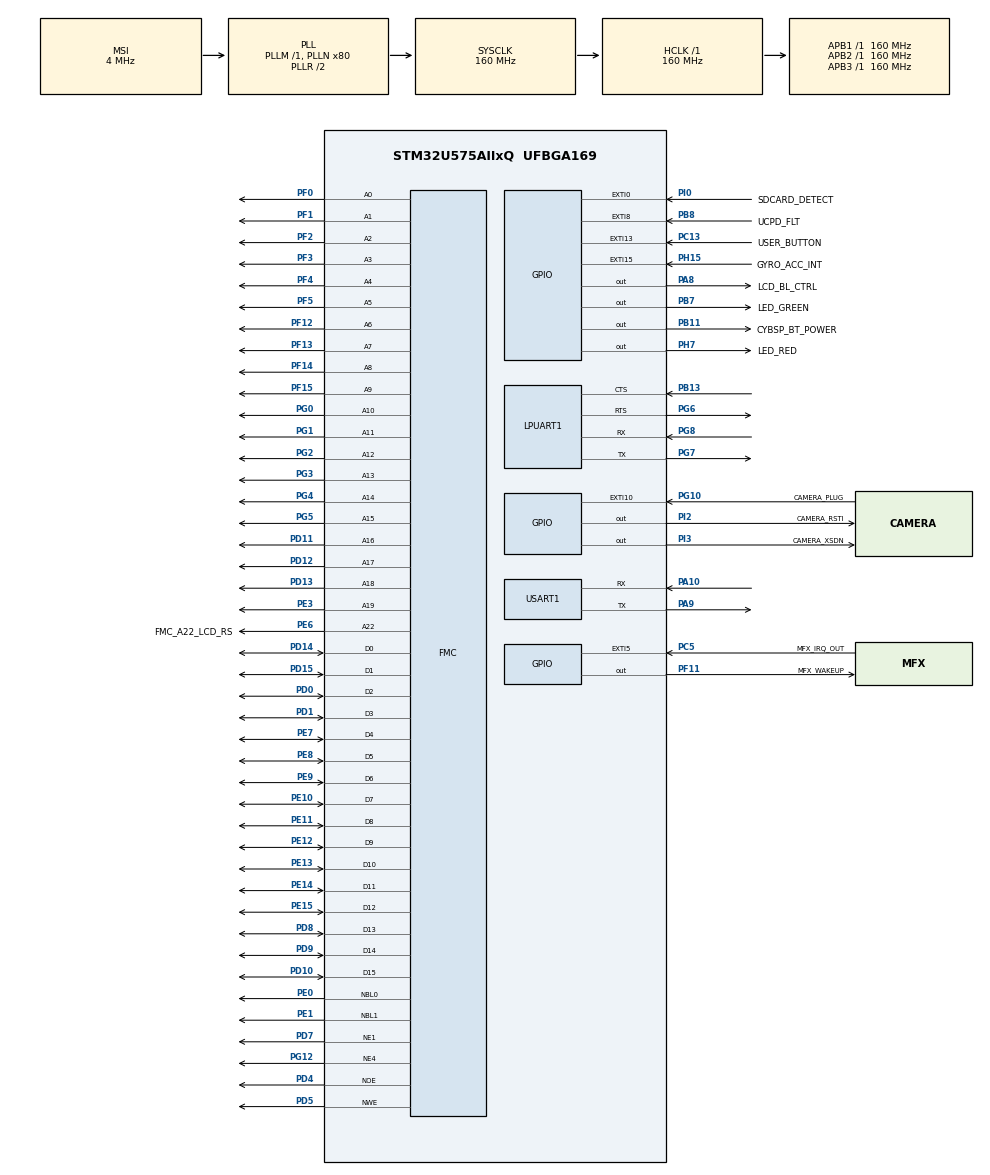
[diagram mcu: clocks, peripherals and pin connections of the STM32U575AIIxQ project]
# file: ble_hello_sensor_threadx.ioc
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CORTEX_M33_NS.userName=CORTEX_M33
GPDMA1.DESTINC_GPDMACH14=DMA_DINC_INCREMENTED
GPDMA1.DIRECTION_GPDMACH15=DMA_MEMORY_TO_PERIPH
GPDMA1.IPHANDLE_GPDMACH14-SIMPLEREQUEST_GPDMACH14=__NULL
GPDMA1.IPHANDLE_GPDMACH15-SIMPLEREQUEST_GPDMACH15=__NULL
GPDMA1.REQUEST_GPDMACH14=GPDMA1_REQUEST_LPUART1_RX
GPDMA1.REQUEST_GPDMACH15=GPDMA1_REQUEST_LPUART1_TX
GPDMA1.SRCINC_GPDMACH15=DMA_SINC_INCREMENTED
Infineon.AIROC-Wi-Fi-Bluetooth-STM32.1.8.0.CYBSP_BT_POWER=PB11
Infineon.AIROC-Wi-Fi-Bluetooth-STM32.1.8.0.CYBSP_BT_UART_CTS=PB13
Infineon.AIROC-Wi-Fi-Bluetooth-STM32.1.8.0.CYBSP_BT_UART_RTS=PG6
Infineon.AIROC-Wi-Fi-Bluetooth-STM32.1.8.0.CYBSP_BT_UART_RX=PG8
Infineon.AIROC-Wi-Fi-Bluetooth-STM32.1.8.0.CYBSP_BT_UART_TX=PG7
Infineon.AIROC-Wi-Fi-Bluetooth-STM32.1.8.0.CYHAL_ISR_PRIORITY_DEFAULT=5
Infineon.AIROC-Wi-Fi-Bluetooth-STM32.1.8.0.ConnectivityCcWirelessJjBluetoothJjbtstack=BLEIiHARDFP
Infineon.AIROC-Wi-Fi-Bluetooth-STM32.1.8.0.ConnectivityCcWirelessJjBluetoothJjbtstackAaintegration=true
Infineon.AIROC-Wi-Fi-Bluetooth-STM32.1.8.0.ConnectivityCcWirelessJjPlatformJjabstractionAartos=ThreadX
Infineon.AIROC-Wi-Fi-Bluetooth-STM32.1.8.0.ConnectivityCcWirelessJjPlatformJjdevice=CYW43012
Infineon.AIROC-Wi-Fi-Bluetooth-STM32.1.8.0.ConnectivityCcWirelessJjPlatformJjmodule=MURATAAa1LV
Infineon.AIROC-Wi-Fi-Bluetooth-STM32.1.8.0.ConnectivityCcWirelessJjPlatformJjpal=true
Mcu.Family=STM32U5
Mcu.Name=STM32U575AIIxQ
Mcu.Package=UFBGA169
NVIC.EXTI15_IRQn=true\:0\:0\:false\:false\:true\:false\:true\:true\:true
NVIC.GPDMA1_Channel14_IRQn=true\:0\:0\:false\:false\:true\:true\:false\:true\:true
NVIC.GPDMA1_Channel15_IRQn=true\:0\:0\:false\:false\:true\:true\:false\:true\:true
NVIC.LPTIM1_IRQn=true\:0\:0\:false\:false\:true\:false\:true\:true\:true
NVIC.LPUART1_IRQn=true\:0\:0\:false\:false\:true\:false\:true\:true\:true
NVIC.PriorityGroup=NVIC_PRIORITYGROUP_3
NVIC.TIM1_UP_IRQn=true\:7\:0\:false\:false\:true\:false\:false\:true\:true
NVIC.TimeBase=TIM1_UP_IRQn
NVIC.TimeBaseIP=TIM1
PA0.GPIO_Label=IBUS_SENSE
PA0.Signal=ADC1_IN5
PA1.PinAttribute=Free
PA1.Signal=TAMP_IN5
PA10.Mode=Asynchronous
PA10.Signal=USART1_RX
PA11.Signal=USB_OTG_FS_DM
PA12.Signal=USB_OTG_FS_DP
PA13\ (JTMS/SWDIO).Mode=Serial_Wire
PA13\ (JTMS/SWDIO).Signal=DEBUG_JTMS-SWDIO
PA14\ (JTCK/SWCLK).Mode=Serial_Wire
PA14\ (JTCK/SWCLK).Signal=DEBUG_JTCK-SWCLK
PA15\ (JTDI).PinAttribute=Free
PA15\ (JTDI).Signal=UCPD1_CC1
PA2.Signal=OCTOSPIM_P1_NCS
PA3.Signal=OCTOSPIM_P1_CLK
PA5.GPIO_Label=VBUS_SENSE
PA5.Signal=ADC1_IN10
PA6.Signal=OCTOSPIM_P1_IO3
PA7.Signal=OCTOSPIM_P1_IO2
PA8.GPIO_Label=LCD_BL_CTRL
PA8.Signal=GPIO_Output
PA9.Mode=Asynchronous
PA9.Signal=USART1_TX
PB0.PinAttribute=Free
PB0.Signal=OCTOSPIM_P1_IO1
PB1.Signal=OCTOSPIM_P1_IO0
PB10.GPIO_PuPdOD=GPIO_NOPULL
PB10.PinAttribute=Free
PB10.Signal=I2C2_SCL
PB11.GPIO_Label=CYBSP_BT_POWER
PB11.Signal=GPIO_Output
PB12.Signal=USART3_CK
PB13.Mode=CTS_RTS
PB13.Signal=LPUART1_CTS
PB14.Signal=TSC_G1_IO3
PB15.Signal=UCPD1_CC2
PB2.Signal=OCTOSPIM_P1_DQS
PB3\ (JTDO/TRACESWO).Signal=ADF1_CCK0
PB4\ (NJTRST).PinAttribute=Free
PB4\ (NJTRST).Signal=ADF1_SDI0
PB6.PinAttribute=Free
PB6.Signal=MDF1_SDI5
PB7.GPIO_Label=LED_GREEN
PB7.GPIO_Speed=GPIO_SPEED_FREQ_HIGH
PB7.Signal=GPIO_Output
PB8.GPIO_Label=UCPD_FLT
PB8.Signal=GPXTI8
PC0.PinAttribute=Free
PC0.Signal=OCTOSPIM_P1_IO7
PC1.Signal=OCTOSPIM_P1_IO4
PC10.Signal=SDMMC1_D2
PC11.PinAttribute=Free
PC11.Signal=SDMMC1_D3
PC12.Signal=SDMMC1_CK
PC13.GPIO_Label=USER_BUTTON
PC13.Signal=GPXTI13
PC14-OSC32_IN\ (PC14).Mode=LSE-External-Oscillator
PC14-OSC32_IN\ (PC14).Signal=RCC_OSC32_IN
PC15-OSC32_OUT\ (PC15).Mode=LSE-External-Oscillator
PC15-OSC32_OUT\ (PC15).Signal=RCC_OSC32_OUT
PC2.Signal=OCTOSPIM_P1_IO5
PC3.Signal=OCTOSPIM_P1_IO6
PC4.Signal=USART3_TX
PC5.GPIO_Label=MFX_IRQ_OUT
PC5.Signal=GPXTI5
PC6.PinAttribute=Free
PC6.Signal=TSC_G4_IO1
PC7.Signal=TSC_G4_IO2
PC8.Signal=SDMMC1_D0
PC9.Signal=SDMMC1_D1
PD0.Signal=FMC_D2_DA2
PD1.Signal=FMC_D3_DA3
PD10.PinAttribute=Free
PD10.Signal=FMC_D15_DA15
PD11.Signal=FMC_A16_CLE
PD12.PinAttribute=Free
PD12.Signal=FMC_A17_ALE
PD13.PinAttribute=Free
PD13.Signal=FMC_A18
PD14.Signal=FMC_D0_DA0
PD15.Signal=FMC_D1_DA1
PD2.Signal=SDMMC1_CMD
PD3.Signal=MDF1_SDI0
PD4.PinAttribute=Free
PD4.Signal=FMC_NOE
PD5.Signal=FMC_NWE
PD6.Signal=SAI1_SD_A
PD7.Mode=NorPsramChipSelect1_1
PD7.Signal=FMC_NE1
PD8.Signal=FMC_D13_DA13
PD9.Signal=FMC_D14_DA14
PE0.Signal=FMC_NBL0
PE1.Signal=FMC_NBL1
PE10.Signal=FMC_D7_DA7
PE11.Signal=FMC_D8_DA8
PE12.Signal=FMC_D9_DA9
PE13.Signal=FMC_D10_DA10
PE14.PinAttribute=Free
PE14.Signal=FMC_D11_DA11
PE15.Signal=FMC_D12_DA12
PE3.Signal=FMC_A19
PE4.Signal=MDF1_SDI3
PE6.GPIO_Label=FMC_A22_LCD_RS
PE6.Signal=FMC_A22
PE7.Signal=FMC_D4_DA4
PE8.PinAttribute=Free
PE8.Signal=FMC_D5_DA5
PE9.Signal=FMC_D6_DA6
PF0.Signal=FMC_A0
PF1.Signal=FMC_A1
PF10.Signal=MDF1_CCK1
PF11.GPIO_Label=MFX_WAKEUP
PF11.Signal=GPIO_Output
PF12.PinAttribute=Free
PF12.Signal=FMC_A6
PF13.Signal=FMC_A7
PF14.Signal=FMC_A8
PF15.Signal=FMC_A9
PF2.Signal=FMC_A2
PF3.PinAttribute=Free
PF3.Signal=FMC_A3
PF4.Signal=FMC_A4
PF5.PinAttribute=Free
PF5.Signal=FMC_A5
PF7.GPIO_Speed=GPIO_SPEED_FREQ_MEDIUM
PF7.PinAttribute=Free
PF7.Signal=SAI1_MCLK_B
PG0.Signal=FMC_A10
PG1.Signal=FMC_A11
PG10.GPIO_Label=CAMERA_PLUG
PG10.Signal=GPXTI10
PG12.Mode=NorPsramChipSelect4_2
PG12.Signal=FMC_NE4
PG2.PinAttribute=Free
PG2.Signal=FMC_A12
PG3.Signal=FMC_A13
PG4.PinAttribute=Free
PG4.Signal=FMC_A14
PG5.Signal=FMC_A15
PG6.Mode=CTS_RTS
PG6.Signal=LPUART1_RTS
PG7.Mode=Asynchronous
PG7.Signal=LPUART1_TX
PG8.Mode=Asynchronous
PG8.Signal=LPUART1_RX
PH0-OSC_IN\ (PH0).Mode=HSE-External-Oscillator
PH0-OSC_IN\ (PH0).Signal=RCC_OSC_IN
PH1-OSC_OUT\ (PH1).Mode=HSE-External-Oscillator
PH1-OSC_OUT\ (PH1).PinAttribute=Free
PH1-OSC_OUT\ (PH1).Signal=RCC_OSC_OUT
PH10.Signal=DCMI_D1
PH11.Signal=DCMI_D2
PH12.Signal=DCMI_D3
PH14.Signal=DCMI_D4
PH15.GPIO_Label=GYRO_ACC_INT
PH15.Signal=GPXTI15
PH5.Signal=DCMI_PIXCLK
PH7.GPIO_Label=LED_RED
PH7.GPIO_Speed=GPIO_SPEED_FREQ_HIGH
PH7.Signal=GPIO_Output
PH8.Signal=DCMI_HSYNC
PH9.Signal=DCMI_D0
PI0.GPIO_Label=SDCARD_DETECT
PI0.Signal=GPXTI0
PI2.GPIO_Label=CAMERA_RSTI
PI2.GPIO_Speed=GPIO_SPEED_FREQ_HIGH
PI2.Signal=GPIO_Output
PI3.GPIO_Label=CAMERA_XSDN
PI3.GPIO_Speed=GPIO_SPEED_FREQ_HIGH
PI3.Signal=GPIO_Output
PI4.Signal=DCMI_D5
PI5.PinAttribute=Free
PI5.Signal=DCMI_VSYNC
PI6.Signal=DCMI_D6
PI7.Signal=DCMI_D7
PWR.PowerMode=PWR_SMPS_SUPPLY
ProjectManager.HeapSize=0x8000
ProjectManager.StackSize=0x400
ProjectManager.TargetToolchain=STM32CubeIDE
RCC.ADCFreq_Value=16000000
RCC.AHBFreq_Value=160000000
RCC.APB1Freq_Value=160000000
RCC.APB1TimFreq_Value=160000000
RCC.APB2Freq_Value=160000000
RCC.APB2TimFreq_Value=160000000
RCC.APB3Freq_Value=160000000
RCC.CortexFreq_Value=160000000
RCC.DACCLockSelectionVirtual=RCC_DAC1CLKSOURCE_LSI
RCC.EPOD_VALUE=4000000
RCC.HCLKFreq_Value=160000000
RCC.HSE_VALUE=16000000
RCC.HSI48_VALUE=48000000
RCC.HSI_VALUE=16000000
RCC.LPTIM1CLockSelectionVirtual=RCC_LPTIM1CLKSOURCE_LSE
RCC.LSIDIV_VALUE=32000
RCC.MSI_VALUE=4000000
RCC.PLL2FRACN=0
RCC.PLL2N=80
RCC.PLL3N=80
RCC.PLLFRACN=0
RCC.PLLN=80
RCC.SDMMCClockSelection=RCC_SDMMCCLKSOURCE_CLK48
RCC.SYSCLKFreq_VALUE=160000000
RCC.SYSCLKSource=RCC_SYSCLKSOURCE_PLLCLK
RCC.USBFreq_Value=48000000
RCC.VCOOutputFreq_Value=320000000
SH.FMC_A0.0=FMC_A0,20b-a1
SH.FMC_A1.0=FMC_A1,20b-a1
SH.FMC_A10.0=FMC_A10,20b-a1
SH.FMC_A11.0=FMC_A11,20b-a1
SH.FMC_A12.0=FMC_A12,20b-a1
SH.FMC_A13.0=FMC_A13,20b-a1
SH.FMC_A14.0=FMC_A14,20b-a1
SH.FMC_A15.0=FMC_A15,20b-a1
SH.FMC_A16_CLE.0=FMC_A16,20b-a1
SH.FMC_A17_ALE.0=FMC_A17,20b-a1
SH.FMC_A18.0=FMC_A18,20b-a1
SH.FMC_A19.0=FMC_A19,20b-a1
SH.FMC_A2.0=FMC_A2,20b-a1
SH.FMC_A22.0=FMC_A22,A22_2
SH.FMC_A3.0=FMC_A3,20b-a1
SH.FMC_A4.0=FMC_A4,20b-a1
SH.FMC_A5.0=FMC_A5,20b-a1
SH.FMC_A6.0=FMC_A6,20b-a1
SH.FMC_A7.0=FMC_A7,20b-a1
SH.FMC_A8.0=FMC_A8,20b-a1
SH.FMC_A9.0=FMC_A9,20b-a1
SH.FMC_D0_DA0.0=FMC_D0,16b-d1
SH.FMC_D0_DA0.1=FMC_D0,16b-d2
SH.FMC_D10_DA10.0=FMC_D10,16b-d1
SH.FMC_D10_DA10.1=FMC_D10,16b-d2
SH.FMC_D11_DA11.0=FMC_D11,16b-d1
SH.FMC_D11_DA11.1=FMC_D11,16b-d2
SH.FMC_D12_DA12.0=FMC_D12,16b-d1
SH.FMC_D12_DA12.1=FMC_D12,16b-d2
SH.FMC_D13_DA13.0=FMC_D13,16b-d1
SH.FMC_D13_DA13.1=FMC_D13,16b-d2
SH.FMC_D14_DA14.0=FMC_D14,16b-d1
SH.FMC_D14_DA14.1=FMC_D14,16b-d2
SH.FMC_D15_DA15.0=FMC_D15,16b-d1
SH.FMC_D15_DA15.1=FMC_D15,16b-d2
SH.FMC_D1_DA1.0=FMC_D1,16b-d1
SH.FMC_D1_DA1.1=FMC_D1,16b-d2
SH.FMC_D2_DA2.0=FMC_D2,16b-d1
SH.FMC_D2_DA2.1=FMC_D2,16b-d2
SH.FMC_D3_DA3.0=FMC_D3,16b-d1
SH.FMC_D3_DA3.1=FMC_D3,16b-d2
SH.FMC_D4_DA4.0=FMC_D4,16b-d1
SH.FMC_D4_DA4.1=FMC_D4,16b-d2
SH.FMC_D5_DA5.0=FMC_D5,16b-d1
SH.FMC_D5_DA5.1=FMC_D5,16b-d2
SH.FMC_D6_DA6.0=FMC_D6,16b-d1
SH.FMC_D6_DA6.1=FMC_D6,16b-d2
SH.FMC_D7_DA7.0=FMC_D7,16b-d1
SH.FMC_D7_DA7.1=FMC_D7,16b-d2
SH.FMC_D8_DA8.0=FMC_D8,16b-d1
SH.FMC_D8_DA8.1=FMC_D8,16b-d2
SH.FMC_D9_DA9.0=FMC_DA9
SH.FMC_D9_DA9.1=FMC_D9,16b-d1
SH.FMC_D9_DA9.2=FMC_D9,16b-d2
SH.FMC_NBL0.0=FMC_NBL0,2ByteEnable1
SH.FMC_NBL1.0=FMC_NBL1,2ByteEnable1
SH.FMC_NOE.0=FMC_NOE,Sram1
SH.FMC_NOE.1=FMC_NOE,Lcd2
SH.FMC_NWE.0=FMC_NWE,Sram1
SH.FMC_NWE.1=FMC_NWE,Lcd2
THREADX.TX_APP_MEM_POOL_SIZE=4048
USART1.VirtualMode-Asynchronous=VM_ASYNC
VP_GPDMA1_VS_GPDMACH14.Mode=SIMPLEREQUEST_GPDMACH14
VP_GPDMA1_VS_GPDMACH15.Mode=SIMPLEREQUEST_GPDMACH15
VP_ICACHE_VS_ICACHE.Mode=DirectMappedCache
VP_Infineon.AIROC-Wi-Fi-Bluetooth-STM32_VS_WirelessJjConnectivity_1.8.0_1.8.0.Mode=WirelessJjConnectivity
VP_LPBAMQUEUE_VS_QUEUE.Mode=QUEUEMODE
VP_LPBAM_VS_SIG1.Mode=SmartRun
VP_LPBAM_VS_SIG4.Mode=LPDMA1
VP_LPTIM1_VS_LPTIM_counterModeInternalClock.Mode=Counts__internal_clock_event_00
VP_PWR_VS_DBSignals.Mode=DisableDeadBatterySignals
VP_PWR_VS_LPOM.Mode=PowerOptimisation
VP_PWR_VS_SECSignals.Mode=Security/Privilege
VP_SYS_VS_tim1.Mode=TIM1
VP_THREADX_VS_RTOSJjThreadXJjCoreJjDefault.Mode=Core_Default
board=STM32U575I-EV

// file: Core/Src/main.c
/* USER CODE BEGIN Header */
/**
  ******************************************************************************
  * @file           : main.c
  * @brief          : Main program body
  ******************************************************************************
  * @attention
  *
  * Copyright (c) 2022 STMicroelectronics.
  * All rights reserved.
  *
  * This software is licensed under terms that can be found in the LICENSE file
  * in the root directory of this software component.
  * If no LICENSE file comes with this software, it is provided AS-IS.
  *
  ******************************************************************************
  */
/* USER CODE END Header */
#include "app_threadx.h"
#include "main.h"

/* USER CODE BEGIN Includes */
#include "stm32_cyhal_sdio_ex.h"
#include "stm32_cyhal_gpio_ex.h"

#include "wifi_bt_if.h"

#include "cybsp.h"
#include "cyhal.h"
#include "cyabs_rtos.h"

#include "wiced_bt_stack.h"
#include "wiced_memory.h"
#include "wiced_bt_dev.h"

#include <app_platform_cfg.h>
#include "cybt_platform_trace.h"

#include "cy_utils.h"
#include "stdio.h"
/* USER CODE END Includes */

LPTIM_HandleTypeDef hlptim1;

UART_HandleTypeDef hlpuart1;
UART_HandleTypeDef huart1;
DMA_HandleTypeDef handle_GPDMA1_Channel15;
DMA_HandleTypeDef handle_GPDMA1_Channel14;

SRAM_HandleTypeDef hsram1;
SRAM_HandleTypeDef hsram2;

void SystemClock_Config(void);
static void SystemPower_Config(void);
static void MX_GPIO_Init(void);
static void MX_GPDMA1_Init(void);
static void MX_USART1_UART_Init(void);
static void MX_FMC_Init(void);
static void MX_LPTIM1_Init(void);
static void MX_LPUART1_UART_Init(void);
static void MX_ICACHE_Init(void);

/* USER CODE BEGIN 0 */

#ifdef __GNUC__
    /* With GCC/RAISONANCE, small printf (option LD Linker->Libraries->Small printf
       set to 'Yes') calls __io_putchar() */
    int __io_putchar(int ch)
    {
      HAL_UART_Transmit(&huart1, (uint8_t *)&ch, 1, 0xFFFF);
      return ch;
    }
#elif defined (__ICCARM__) /* IAR */
    #include <yfuns.h>

    /***************************************************************************
    * Function Name: __write
    ***************************************************************************/
    size_t __write(int handle, const unsigned char * buffer, size_t size)
    {
        size_t nChars = 0;
        /* This template only writes to "standard out", for all other file
        * handles it returns failure. */
        if (handle != _LLIO_STDOUT)
        {
            return (_LLIO_ERROR);
        }
        if (buffer != NULL)
        {
            for (/* Empty */; nChars < size; ++nChars)
            {
                HAL_UART_Transmit(&huart1, (uint8_t *)buffer, 1, 0xFFFF);
                ++buffer;
            }
        }
        return (nChars);
    }
#endif /* __GNUC__ */

/* USER CODE END 0 */

int main(void)
{

  /* MCU Configuration--------------------------------------------------------*/

  /* Reset of all peripherals, Initializes the Flash interface and the Systick. */
  HAL_Init();

  /* Configure the system clock */
  SystemClock_Config();

  /* Configure the System Power */
  SystemPower_Config();

  /* Initialize all configured peripherals */
  MX_GPIO_Init();
  MX_GPDMA1_Init();
  MX_USART1_UART_Init();
  MX_FMC_Init();
  MX_LPTIM1_Init();
  MX_LPUART1_UART_Init();
  MX_ICACHE_Init();
  /* USER CODE BEGIN 2 */

  /* PAL init */
  stm32_cypal_bt_init(&hlpuart1, &hlptim1);

  /* configure BLE Platform */
  cybt_platform_config_init(&bt_platform_cfg_settings);

  /* USER CODE END 2 */

  MX_ThreadX_Init();

  /* We should never get here as control is now taken by the scheduler */
  /* Infinite loop */
  while (1)
  {

  }
}

void SystemClock_Config(void)
{
  RCC_OscInitTypeDef RCC_OscInitStruct = {0};
  RCC_ClkInitTypeDef RCC_ClkInitStruct = {0};

  /** Configure the main internal regulator output voltage
  */
  if (HAL_PWREx_ControlVoltageScaling(PWR_REGULATOR_VOLTAGE_SCALE1) != HAL_OK)
  {
    Error_Handler();
  }

  /** Configure LSE Drive Capability
  */
  HAL_PWR_EnableBkUpAccess();
  __HAL_RCC_LSEDRIVE_CONFIG(RCC_LSEDRIVE_LOW);

  /** Initializes the CPU, AHB and APB buses clocks
  */
  RCC_OscInitStruct.OscillatorType = RCC_OSCILLATORTYPE_LSE|RCC_OSCILLATORTYPE_MSI;
  RCC_OscInitStruct.LSEState = RCC_LSE_ON;
  RCC_OscInitStruct.MSIState = RCC_MSI_ON;
  RCC_OscInitStruct.MSICalibrationValue = RCC_MSICALIBRATION_DEFAULT;
  RCC_OscInitStruct.MSIClockRange = RCC_MSIRANGE_4;
  RCC_OscInitStruct.PLL.PLLState = RCC_PLL_ON;
  RCC_OscInitStruct.PLL.PLLSource = RCC_PLLSOURCE_MSI;
  RCC_OscInitStruct.PLL.PLLMBOOST = RCC_PLLMBOOST_DIV1;
  RCC_OscInitStruct.PLL.PLLM = 1;
  RCC_OscInitStruct.PLL.PLLN = 80;
  RCC_OscInitStruct.PLL.PLLP = 2;
  RCC_OscInitStruct.PLL.PLLQ = 2;
  RCC_OscInitStruct.PLL.PLLR = 2;
  RCC_OscInitStruct.PLL.PLLRGE = RCC_PLLVCIRANGE_0;
  RCC_OscInitStruct.PLL.PLLFRACN = 0;
  if (HAL_RCC_OscConfig(&RCC_OscInitStruct) != HAL_OK)
  {
    Error_Handler();
  }

  /** Initializes the CPU, AHB and APB buses clocks
  */
  RCC_ClkInitStruct.ClockType = RCC_CLOCKTYPE_HCLK|RCC_CLOCKTYPE_SYSCLK
                              |RCC_CLOCKTYPE_PCLK1|RCC_CLOCKTYPE_PCLK2
                              |RCC_CLOCKTYPE_PCLK3;
  RCC_ClkInitStruct.SYSCLKSource = RCC_SYSCLKSOURCE_PLLCLK;
  RCC_ClkInitStruct.AHBCLKDivider = RCC_SYSCLK_DIV1;
  RCC_ClkInitStruct.APB1CLKDivider = RCC_HCLK_DIV1;
  RCC_ClkInitStruct.APB2CLKDivider = RCC_HCLK_DIV1;
  RCC_ClkInitStruct.APB3CLKDivider = RCC_HCLK_DIV1;

  if (HAL_RCC_ClockConfig(&RCC_ClkInitStruct, FLASH_LATENCY_4) != HAL_OK)
  {
    Error_Handler();
  }
}

/**
  * @brief Power Configuration
  * @retval None
  */
static void SystemPower_Config(void)
{
  HAL_PWREx_EnableVddIO2();

  /*
   * Disable the internal Pull-Up in Dead Battery pins of UCPD peripheral
   */
  HAL_PWREx_DisableUCPDDeadBattery();

  /*
   * Switch to SMPS regulator instead of LDO
   */
  if (HAL_PWREx_ConfigSupply(PWR_SMPS_SUPPLY) != HAL_OK)
  {
    Error_Handler();
  }
}

static void MX_GPDMA1_Init(void)
{

  /* Peripheral clock enable */
  __HAL_RCC_GPDMA1_CLK_ENABLE();

  /* GPDMA1 interrupt Init */
    HAL_NVIC_SetPriority(GPDMA1_Channel14_IRQn, 0, 0);
    HAL_NVIC_EnableIRQ(GPDMA1_Channel14_IRQn);
    HAL_NVIC_SetPriority(GPDMA1_Channel15_IRQn, 0, 0);
    HAL_NVIC_EnableIRQ(GPDMA1_Channel15_IRQn);

}

static void MX_ICACHE_Init(void)
{

  /** Enable instruction cache in 1-way (direct mapped cache)
  */
  if (HAL_ICACHE_ConfigAssociativityMode(ICACHE_1WAY) != HAL_OK)
  {
    Error_Handler();
  }
  if (HAL_ICACHE_Enable() != HAL_OK)
  {
    Error_Handler();
  }

}

static void MX_LPTIM1_Init(void)
{

  hlptim1.Instance = LPTIM1;
  hlptim1.Init.Clock.Source = LPTIM_CLOCKSOURCE_APBCLOCK_LPOSC;
  hlptim1.Init.Clock.Prescaler = LPTIM_PRESCALER_DIV1;
  hlptim1.Init.Trigger.Source = LPTIM_TRIGSOURCE_SOFTWARE;
  hlptim1.Init.Period = 65535;
  hlptim1.Init.UpdateMode = LPTIM_UPDATE_IMMEDIATE;
  hlptim1.Init.CounterSource = LPTIM_COUNTERSOURCE_INTERNAL;
  hlptim1.Init.Input1Source = LPTIM_INPUT1SOURCE_GPIO;
  hlptim1.Init.Input2Source = LPTIM_INPUT2SOURCE_GPIO;
  hlptim1.Init.RepetitionCounter = 0;
  if (HAL_LPTIM_Init(&hlptim1) != HAL_OK)
  {
    Error_Handler();
  }

}

static void MX_LPUART1_UART_Init(void)
{

  hlpuart1.Instance = LPUART1;
  hlpuart1.Init.BaudRate = 209700;
  hlpuart1.Init.WordLength = UART_WORDLENGTH_8B;
  hlpuart1.Init.StopBits = UART_STOPBITS_1;
  hlpuart1.Init.Parity = UART_PARITY_NONE;
  hlpuart1.Init.Mode = UART_MODE_TX_RX;
  hlpuart1.Init.HwFlowCtl = UART_HWCONTROL_RTS_CTS;
  hlpuart1.Init.OneBitSampling = UART_ONE_BIT_SAMPLE_DISABLE;
  hlpuart1.AdvancedInit.AdvFeatureInit = UART_ADVFEATURE_NO_INIT;
  hlpuart1.FifoMode = UART_FIFOMODE_DISABLE;
  if (HAL_UART_Init(&hlpuart1) != HAL_OK)
  {
    Error_Handler();
  }
  if (HAL_UARTEx_SetTxFifoThreshold(&hlpuart1, UART_TXFIFO_THRESHOLD_1_8) != HAL_OK)
  {
    Error_Handler();
  }
  if (HAL_UARTEx_SetRxFifoThreshold(&hlpuart1, UART_RXFIFO_THRESHOLD_1_8) != HAL_OK)
  {
    Error_Handler();
  }
  if (HAL_UARTEx_DisableFifoMode(&hlpuart1) != HAL_OK)
  {
    Error_Handler();
  }

}

static void MX_USART1_UART_Init(void)
{

  huart1.Instance = USART1;
  huart1.Init.BaudRate = 115200;
  huart1.Init.WordLength = UART_WORDLENGTH_8B;
  huart1.Init.StopBits = UART_STOPBITS_1;
  huart1.Init.Parity = UART_PARITY_NONE;
  huart1.Init.Mode = UART_MODE_TX_RX;
  huart1.Init.HwFlowCtl = UART_HWCONTROL_NONE;
  huart1.Init.OverSampling = UART_OVERSAMPLING_16;
  huart1.Init.OneBitSampling = UART_ONE_BIT_SAMPLE_DISABLE;
  huart1.Init.ClockPrescaler = UART_PRESCALER_DIV1;
  huart1.AdvancedInit.AdvFeatureInit = UART_ADVFEATURE_NO_INIT;
  if (HAL_UART_Init(&huart1) != HAL_OK)
  {
    Error_Handler();
  }
  if (HAL_UARTEx_SetTxFifoThreshold(&huart1, UART_TXFIFO_THRESHOLD_1_8) != HAL_OK)
  {
    Error_Handler();
  }
  if (HAL_UARTEx_SetRxFifoThreshold(&huart1, UART_RXFIFO_THRESHOLD_1_8) != HAL_OK)
  {
    Error_Handler();
  }
  if (HAL_UARTEx_DisableFifoMode(&huart1) != HAL_OK)
  {
    Error_Handler();
  }

}

/* FMC initialization function */
static void MX_FMC_Init(void)
{

  FMC_NORSRAM_TimingTypeDef Timing = {0};

  /** Perform the SRAM1 memory initialization sequence
  */
  hsram1.Instance = FMC_NORSRAM_DEVICE;
  hsram1.Extended = FMC_NORSRAM_EXTENDED_DEVICE;
  /* hsram1.Init */
  hsram1.Init.NSBank = FMC_NORSRAM_BANK1;
  hsram1.Init.DataAddressMux = FMC_DATA_ADDRESS_MUX_DISABLE;
  hsram1.Init.MemoryType = FMC_MEMORY_TYPE_SRAM;
  hsram1.Init.MemoryDataWidth = FMC_NORSRAM_MEM_BUS_WIDTH_16;
  hsram1.Init.BurstAccessMode = FMC_BURST_ACCESS_MODE_DISABLE;
  hsram1.Init.WaitSignalPolarity = FMC_WAIT_SIGNAL_POLARITY_LOW;
  hsram1.Init.WaitSignalActive = FMC_WAIT_TIMING_BEFORE_WS;
  hsram1.Init.WriteOperation = FMC_WRITE_OPERATION_DISABLE;
  hsram1.Init.WaitSignal = FMC_WAIT_SIGNAL_DISABLE;
  hsram1.Init.ExtendedMode = FMC_EXTENDED_MODE_DISABLE;
  hsram1.Init.AsynchronousWait = FMC_ASYNCHRONOUS_WAIT_DISABLE;
  hsram1.Init.WriteBurst = FMC_WRITE_BURST_DISABLE;
  hsram1.Init.ContinuousClock = FMC_CONTINUOUS_CLOCK_SYNC_ONLY;
  hsram1.Init.WriteFifo = FMC_WRITE_FIFO_ENABLE;
  hsram1.Init.NBLSetupTime = 0;
  hsram1.Init.PageSize = FMC_PAGE_SIZE_NONE;
  hsram1.Init.MaxChipSelectPulse = DISABLE;
  /* Timing */
  Timing.AddressSetupTime = 15;
  Timing.AddressHoldTime = 15;
  Timing.DataSetupTime = 255;
  Timing.DataHoldTime = 0;
  Timing.BusTurnAroundDuration = 15;
  Timing.CLKDivision = 16;
  Timing.DataLatency = 17;
  Timing.AccessMode = FMC_ACCESS_MODE_A;
  /* ExtTiming */

  if (HAL_SRAM_Init(&hsram1, &Timing, NULL) != HAL_OK)
  {
    Error_Handler( );
  }

  /** Perform the SRAM2 memory initialization sequence
  */
  hsram2.Instance = FMC_NORSRAM_DEVICE;
  hsram2.Extended = FMC_NORSRAM_EXTENDED_DEVICE;
  /* hsram2.Init */
  hsram2.Init.NSBank = FMC_NORSRAM_BANK4;
  hsram2.Init.DataAddressMux = FMC_DATA_ADDRESS_MUX_DISABLE;
  hsram2.Init.MemoryType = FMC_MEMORY_TYPE_SRAM;
  hsram2.Init.MemoryDataWidth = FMC_NORSRAM_MEM_BUS_WIDTH_16;
  hsram2.Init.BurstAccessMode = FMC_BURST_ACCESS_MODE_DISABLE;
  hsram2.Init.WaitSignalPolarity = FMC_WAIT_SIGNAL_POLARITY_LOW;
  hsram2.Init.WaitSignalActive = FMC_WAIT_TIMING_BEFORE_WS;
  hsram2.Init.WriteOperation = FMC_WRITE_OPERATION_ENABLE;
  hsram2.Init.WaitSignal = FMC_WAIT_SIGNAL_DISABLE;
  hsram2.Init.ExtendedMode = FMC_EXTENDED_MODE_DISABLE;
  hsram2.Init.AsynchronousWait = FMC_ASYNCHRONOUS_WAIT_DISABLE;
  hsram2.Init.WriteBurst = FMC_WRITE_BURST_DISABLE;
  hsram2.Init.ContinuousClock = FMC_CONTINUOUS_CLOCK_SYNC_ONLY;
  hsram2.Init.WriteFifo = FMC_WRITE_FIFO_ENABLE;
  hsram2.Init.NBLSetupTime = 0;
  hsram2.Init.PageSize = FMC_PAGE_SIZE_NONE;
  hsram2.Init.MaxChipSelectPulse = DISABLE;
  /* Timing */
  Timing.AddressSetupTime = 15;
  Timing.AddressHoldTime = 15;
  Timing.DataSetupTime = 255;
  Timing.DataHoldTime = 0;
  Timing.BusTurnAroundDuration = 15;
  Timing.CLKDivision = 16;
  Timing.DataLatency = 17;
  Timing.AccessMode = FMC_ACCESS_MODE_A;
  /* ExtTiming */

  if (HAL_SRAM_Init(&hsram2, &Timing, NULL) != HAL_OK)
  {
    Error_Handler( );
  }

}

static void MX_GPIO_Init(void)
{
  GPIO_InitTypeDef GPIO_InitStruct = {0};

  /* GPIO Ports Clock Enable */
  __HAL_RCC_GPIOI_CLK_ENABLE();
  __HAL_RCC_GPIOC_CLK_ENABLE();
  __HAL_RCC_GPIOA_CLK_ENABLE();
  __HAL_RCC_GPIOH_CLK_ENABLE();
  __HAL_RCC_GPIOB_CLK_ENABLE();
  __HAL_RCC_GPIOD_CLK_ENABLE();
  __HAL_RCC_GPIOE_CLK_ENABLE();
  __HAL_RCC_GPIOG_CLK_ENABLE();
  __HAL_RCC_GPIOF_CLK_ENABLE();

  /*Configure GPIO pin Output Level */
  HAL_GPIO_WritePin(GPIOI, CAMERA_XSDN_Pin|CAMERA_RSTI_Pin, GPIO_PIN_RESET);

  /*Configure GPIO pin Output Level */
  HAL_GPIO_WritePin(GPIOB, LED_GREEN_Pin|CYBSP_BT_POWER_Pin, GPIO_PIN_RESET);

  /*Configure GPIO pin Output Level */
  HAL_GPIO_WritePin(LED_RED_GPIO_Port, LED_RED_Pin, GPIO_PIN_RESET);

  /*Configure GPIO pin Output Level */
  HAL_GPIO_WritePin(LCD_BL_CTRL_GPIO_Port, LCD_BL_CTRL_Pin, GPIO_PIN_RESET);

  /*Configure GPIO pin Output Level */
  HAL_GPIO_WritePin(MFX_WAKEUP_GPIO_Port, MFX_WAKEUP_Pin, GPIO_PIN_RESET);

  /*Configure GPIO pins : PI6 PI5 PI4 PI7 */
  GPIO_InitStruct.Pin = GPIO_PIN_6|GPIO_PIN_5|GPIO_PIN_4|GPIO_PIN_7;
  GPIO_InitStruct.Mode = GPIO_MODE_AF_PP;
  GPIO_InitStruct.Pull = GPIO_NOPULL;
  GPIO_InitStruct.Speed = GPIO_SPEED_FREQ_LOW;
  GPIO_InitStruct.Alternate = GPIO_AF10_DCMI;
  HAL_GPIO_Init(GPIOI, &GPIO_InitStruct);

  /*Configure GPIO pins : PC11 PC10 PC12 PC9
                           PC8 */
  GPIO_InitStruct.Pin = GPIO_PIN_11|GPIO_PIN_10|GPIO_PIN_12|GPIO_PIN_9
                          |GPIO_PIN_8;
  GPIO_InitStruct.Mode = GPIO_MODE_AF_PP;
  GPIO_InitStruct.Pull = GPIO_NOPULL;
  GPIO_InitStruct.Speed = GPIO_SPEED_FREQ_HIGH;
  GPIO_InitStruct.Alternate = GPIO_AF12_SDMMC1;
  HAL_GPIO_Init(GPIOC, &GPIO_InitStruct);

  /*Configure GPIO pins : PA15 IBUS_SENSE_Pin VBUS_SENSE_Pin */
  GPIO_InitStruct.Pin = GPIO_PIN_15|IBUS_SENSE_Pin|VBUS_SENSE_Pin;
  GPIO_InitStruct.Mode = GPIO_MODE_ANALOG;
  GPIO_InitStruct.Pull = GPIO_NOPULL;
  HAL_GPIO_Init(GPIOA, &GPIO_InitStruct);

  /*Configure GPIO pin : GYRO_ACC_INT_Pin */
  GPIO_InitStruct.Pin = GYRO_ACC_INT_Pin;
  GPIO_InitStruct.Mode = GPIO_MODE_IT_RISING;
  GPIO_InitStruct.Pull = GPIO_NOPULL;
  HAL_GPIO_Init(GYRO_ACC_INT_GPIO_Port, &GPIO_InitStruct);

  /*Configure GPIO pin : PB6 */
  GPIO_InitStruct.Pin = GPIO_PIN_6;
  GPIO_InitStruct.Mode = GPIO_MODE_AF_PP;
  GPIO_InitStruct.Pull = GPIO_NOPULL;
  GPIO_InitStruct.Speed = GPIO_SPEED_FREQ_LOW;
  GPIO_InitStruct.Alternate = GPIO_AF6_MDF1;
  HAL_GPIO_Init(GPIOB, &GPIO_InitStruct);

  /*Configure GPIO pins : PB4 PB3 */
  GPIO_InitStruct.Pin = GPIO_PIN_4|GPIO_PIN_3;
  GPIO_InitStruct.Mode = GPIO_MODE_AF_PP;
  GPIO_InitStruct.Pull = GPIO_NOPULL;
  GPIO_InitStruct.Speed = GPIO_SPEED_FREQ_LOW;
  GPIO_InitStruct.Alternate = GPIO_AF3_ADF1;
  HAL_GPIO_Init(GPIOB, &GPIO_InitStruct);

  /*Configure GPIO pin : PD6 */
  GPIO_InitStruct.Pin = GPIO_PIN_6;
  GPIO_InitStruct.Mode = GPIO_MODE_AF_PP;
  GPIO_InitStruct.Pull = GPIO_NOPULL;
  GPIO_InitStruct.Speed = GPIO_SPEED_FREQ_LOW;
  GPIO_InitStruct.Alternate = GPIO_AF13_SAI1;
  HAL_GPIO_Init(GPIOD, &GPIO_InitStruct);

  /*Configure GPIO pin : SDCARD_DETECT_Pin */
  GPIO_InitStruct.Pin = SDCARD_DETECT_Pin;
  GPIO_InitStruct.Mode = GPIO_MODE_IT_RISING;
  GPIO_InitStruct.Pull = GPIO_NOPULL;
  HAL_GPIO_Init(SDCARD_DETECT_GPIO_Port, &GPIO_InitStruct);

  /*Configure GPIO pins : PH12 PH14 PH10 PH11
                           PH8 PH9 PH5 */
  GPIO_InitStruct.Pin = GPIO_PIN_12|GPIO_PIN_14|GPIO_PIN_10|GPIO_PIN_11
                          |GPIO_PIN_8|GPIO_PIN_9|GPIO_PIN_5;
  GPIO_InitStruct.Mode = GPIO_MODE_AF_PP;
  GPIO_InitStruct.Pull = GPIO_NOPULL;
  GPIO_InitStruct.Speed = GPIO_SPEED_FREQ_LOW;
  GPIO_InitStruct.Alternate = GPIO_AF10_DCMI;
  HAL_GPIO_Init(GPIOH, &GPIO_InitStruct);

  /*Configure GPIO pin : PE4 */
  GPIO_InitStruct.Pin = GPIO_PIN_4;
  GPIO_InitStruct.Mode = GPIO_MODE_AF_PP;
  GPIO_InitStruct.Pull = GPIO_NOPULL;
  GPIO_InitStruct.Speed = GPIO_SPEED_FREQ_LOW;
  GPIO_InitStruct.Alternate = GPIO_AF6_MDF1;
  HAL_GPIO_Init(GPIOE, &GPIO_InitStruct);

  /*Configure GPIO pin : CAMERA_PLUG_Pin */
  GPIO_InitStruct.Pin = CAMERA_PLUG_Pin;
  GPIO_InitStruct.Mode = GPIO_MODE_IT_RISING;
  GPIO_InitStruct.Pull = GPIO_NOPULL;
  HAL_GPIO_Init(CAMERA_PLUG_GPIO_Port, &GPIO_InitStruct);

  /*Configure GPIO pin : PD3 */
  GPIO_InitStruct.Pin = GPIO_PIN_3;
  GPIO_InitStruct.Mode = GPIO_MODE_AF_PP;
  GPIO_InitStruct.Pull = GPIO_NOPULL;
  GPIO_InitStruct.Speed = GPIO_SPEED_FREQ_LOW;
  GPIO_InitStruct.Alternate = GPIO_AF6_MDF1;
  HAL_GPIO_Init(GPIOD, &GPIO_InitStruct);

  /*Configure GPIO pins : CAMERA_XSDN_Pin CAMERA_RSTI_Pin */
  GPIO_InitStruct.Pin = CAMERA_XSDN_Pin|CAMERA_RSTI_Pin;
  GPIO_InitStruct.Mode = GPIO_MODE_OUTPUT_PP;
  GPIO_InitStruct.Pull = GPIO_NOPULL;
  GPIO_InitStruct.Speed = GPIO_SPEED_FREQ_HIGH;
  HAL_GPIO_Init(GPIOI, &GPIO_InitStruct);

  /*Configure GPIO pins : USER_BUTTON_Pin MFX_IRQ_OUT_Pin */
  GPIO_InitStruct.Pin = USER_BUTTON_Pin|MFX_IRQ_OUT_Pin;
  GPIO_InitStruct.Mode = GPIO_MODE_IT_RISING;
  GPIO_InitStruct.Pull = GPIO_NOPULL;
  HAL_GPIO_Init(GPIOC, &GPIO_InitStruct);

  /*Configure GPIO pin : UCPD_FLT_Pin */
  GPIO_InitStruct.Pin = UCPD_FLT_Pin;
  GPIO_InitStruct.Mode = GPIO_MODE_IT_RISING;
  GPIO_InitStruct.Pull = GPIO_NOPULL;
  HAL_GPIO_Init(UCPD_FLT_GPIO_Port, &GPIO_InitStruct);

  /*Configure GPIO pin : LED_GREEN_Pin */
  GPIO_InitStruct.Pin = LED_GREEN_Pin;
  GPIO_InitStruct.Mode = GPIO_MODE_OUTPUT_PP;
  GPIO_InitStruct.Pull = GPIO_NOPULL;
  GPIO_InitStruct.Speed = GPIO_SPEED_FREQ_HIGH;
  HAL_GPIO_Init(LED_GREEN_GPIO_Port, &GPIO_InitStruct);

  /*Configure GPIO pin : PD2 */
  GPIO_InitStruct.Pin = GPIO_PIN_2;
  GPIO_InitStruct.Mode = GPIO_MODE_AF_PP;
  GPIO_InitStruct.Pull = GPIO_NOPULL;
  GPIO_InitStruct.Speed = GPIO_SPEED_FREQ_HIGH;
  GPIO_InitStruct.Alternate = GPIO_AF12_SDMMC1;
  HAL_GPIO_Init(GPIOD, &GPIO_InitStruct);

  /*Configure GPIO pin : LED_RED_Pin */
  GPIO_InitStruct.Pin = LED_RED_Pin;
  GPIO_InitStruct.Mode = GPIO_MODE_OUTPUT_PP;
  GPIO_InitStruct.Pull = GPIO_NOPULL;
  GPIO_InitStruct.Speed = GPIO_SPEED_FREQ_HIGH;
  HAL_GPIO_Init(LED_RED_GPIO_Port, &GPIO_InitStruct);

  /*Configure GPIO pins : PA12 PA11 */
  GPIO_InitStruct.Pin = GPIO_PIN_12|GPIO_PIN_11;
  GPIO_InitStruct.Mode = GPIO_MODE_AF_PP;
  GPIO_InitStruct.Pull = GPIO_NOPULL;
  GPIO_InitStruct.Speed = GPIO_SPEED_FREQ_LOW;
  GPIO_InitStruct.Alternate = GPIO_AF10_USB;
  HAL_GPIO_Init(GPIOA, &GPIO_InitStruct);

  /*Configure GPIO pin : PF7 */
  GPIO_InitStruct.Pin = GPIO_PIN_7;
  GPIO_InitStruct.Mode = GPIO_MODE_AF_PP;
  GPIO_InitStruct.Pull = GPIO_NOPULL;
  GPIO_InitStruct.Speed = GPIO_SPEED_FREQ_MEDIUM;
  GPIO_InitStruct.Alternate = GPIO_AF13_SAI1;
  HAL_GPIO_Init(GPIOF, &GPIO_InitStruct);

  /*Configure GPIO pin : LCD_BL_CTRL_Pin */
  GPIO_InitStruct.Pin = LCD_BL_CTRL_Pin;
  GPIO_InitStruct.Mode = GPIO_MODE_OUTPUT_PP;
  GPIO_InitStruct.Pull = GPIO_NOPULL;
  GPIO_InitStruct.Speed = GPIO_SPEED_FREQ_LOW;
  HAL_GPIO_Init(LCD_BL_CTRL_GPIO_Port, &GPIO_InitStruct);

  /*Configure GPIO pins : PC7 PC6 */
  GPIO_InitStruct.Pin = GPIO_PIN_7|GPIO_PIN_6;
  GPIO_InitStruct.Mode = GPIO_MODE_AF_PP;
  GPIO_InitStruct.Pull = GPIO_NOPULL;
  GPIO_InitStruct.Speed = GPIO_SPEED_FREQ_LOW;
  GPIO_InitStruct.Alternate = GPIO_AF9_TSC;
  HAL_GPIO_Init(GPIOC, &GPIO_InitStruct);

  /*Configure GPIO pin : PF10 */
  GPIO_InitStruct.Pin = GPIO_PIN_10;
  GPIO_InitStruct.Mode = GPIO_MODE_AF_PP;
  GPIO_InitStruct.Pull = GPIO_NOPULL;
  GPIO_InitStruct.Speed = GPIO_SPEED_FREQ_LOW;
  GPIO_InitStruct.Alternate = GPIO_AF6_MDF1;
  HAL_GPIO_Init(GPIOF, &GPIO_InitStruct);

  /*Configure GPIO pin : PC0 */
  GPIO_InitStruct.Pin = GPIO_PIN_0;
  GPIO_InitStruct.Mode = GPIO_MODE_AF_PP;
  GPIO_InitStruct.Pull = GPIO_NOPULL;
  GPIO_InitStruct.Speed = GPIO_SPEED_FREQ_VERY_HIGH;
  GPIO_InitStruct.Alternate = GPIO_AF3_OCTOSPI1;
  HAL_GPIO_Init(GPIOC, &GPIO_InitStruct);

  /*Configure GPIO pins : PC1 PC2 PC3 */
  GPIO_InitStruct.Pin = GPIO_PIN_1|GPIO_PIN_2|GPIO_PIN_3;
  GPIO_InitStruct.Mode = GPIO_MODE_AF_PP;
  GPIO_InitStruct.Pull = GPIO_NOPULL;
  GPIO_InitStruct.Speed = GPIO_SPEED_FREQ_VERY_HIGH;
  GPIO_InitStruct.Alternate = GPIO_AF10_OCTOSPI1;
  HAL_GPIO_Init(GPIOC, &GPIO_InitStruct);

  /*Configure GPIO pins : PA7 PA2 PA3 PA6 */
  GPIO_InitStruct.Pin = GPIO_PIN_7|GPIO_PIN_2|GPIO_PIN_3|GPIO_PIN_6;
  GPIO_InitStruct.Mode = GPIO_MODE_AF_PP;
  GPIO_InitStruct.Pull = GPIO_NOPULL;
  GPIO_InitStruct.Speed = GPIO_SPEED_FREQ_VERY_HIGH;
  GPIO_InitStruct.Alternate = GPIO_AF10_OCTOSPI1;
  HAL_GPIO_Init(GPIOA, &GPIO_InitStruct);

  /*Configure GPIO pins : PB0 PB2 PB1 */
  GPIO_InitStruct.Pin = GPIO_PIN_0|GPIO_PIN_2|GPIO_PIN_1;
  GPIO_InitStruct.Mode = GPIO_MODE_AF_PP;
  GPIO_InitStruct.Pull = GPIO_NOPULL;
  GPIO_InitStruct.Speed = GPIO_SPEED_FREQ_VERY_HIGH;
  GPIO_InitStruct.Alternate = GPIO_AF10_OCTOSPI1;
  HAL_GPIO_Init(GPIOB, &GPIO_InitStruct);

  /*Configure GPIO pin : PB10 */
  GPIO_InitStruct.Pin = GPIO_PIN_10;
  GPIO_InitStruct.Mode = GPIO_MODE_AF_OD;
  GPIO_InitStruct.Pull = GPIO_NOPULL;
  GPIO_InitStruct.Speed = GPIO_SPEED_FREQ_LOW;
  GPIO_InitStruct.Alternate = GPIO_AF4_I2C2;
  HAL_GPIO_Init(GPIOB, &GPIO_InitStruct);

  /*Configure GPIO pin : PC4 */
  GPIO_InitStruct.Pin = GPIO_PIN_4;
  GPIO_InitStruct.Mode = GPIO_MODE_AF_PP;
  GPIO_InitStruct.Pull = GPIO_NOPULL;
  GPIO_InitStruct.Speed = GPIO_SPEED_FREQ_LOW;
  GPIO_InitStruct.Alternate = GPIO_AF7_USART3;
  HAL_GPIO_Init(GPIOC, &GPIO_InitStruct);

  /*Configure GPIO pin : CYBSP_BT_POWER_Pin */
  GPIO_InitStruct.Pin = CYBSP_BT_POWER_Pin;
  GPIO_InitStruct.Mode = GPIO_MODE_OUTPUT_PP;
  GPIO_InitStruct.Pull = GPIO_NOPULL;
  GPIO_InitStruct.Speed = GPIO_SPEED_FREQ_LOW;
  HAL_GPIO_Init(CYBSP_BT_POWER_GPIO_Port, &GPIO_InitStruct);

  /*Configure GPIO pin : PB12 */
  GPIO_InitStruct.Pin = GPIO_PIN_12;
  GPIO_InitStruct.Mode = GPIO_MODE_AF_PP;
  GPIO_InitStruct.Pull = GPIO_NOPULL;
  GPIO_InitStruct.Speed = GPIO_SPEED_FREQ_LOW;
  GPIO_InitStruct.Alternate = GPIO_AF7_USART3;
  HAL_GPIO_Init(GPIOB, &GPIO_InitStruct);

  /*Configure GPIO pin : PB15 */
  GPIO_InitStruct.Pin = GPIO_PIN_15;
  GPIO_InitStruct.Mode = GPIO_MODE_ANALOG;
  GPIO_InitStruct.Pull = GPIO_NOPULL;
  HAL_GPIO_Init(GPIOB, &GPIO_InitStruct);

  /*Configure GPIO pin : MFX_WAKEUP_Pin */
  GPIO_InitStruct.Pin = MFX_WAKEUP_Pin;
  GPIO_InitStruct.Mode = GPIO_MODE_OUTPUT_PP;
  GPIO_InitStruct.Pull = GPIO_NOPULL;
  GPIO_InitStruct.Speed = GPIO_SPEED_FREQ_LOW;
  HAL_GPIO_Init(MFX_WAKEUP_GPIO_Port, &GPIO_InitStruct);

  /*Configure GPIO pin : PB14 */
  GPIO_InitStruct.Pin = GPIO_PIN_14;
  GPIO_InitStruct.Mode = GPIO_MODE_AF_PP;
  GPIO_InitStruct.Pull = GPIO_NOPULL;
  GPIO_InitStruct.Speed = GPIO_SPEED_FREQ_LOW;
  GPIO_InitStruct.Alternate = GPIO_AF9_TSC;
  HAL_GPIO_Init(GPIOB, &GPIO_InitStruct);

  /* EXTI interrupt init*/
  HAL_NVIC_SetPriority(EXTI15_IRQn, 0, 0);
  HAL_NVIC_EnableIRQ(EXTI15_IRQn);

}

void HAL_TIM_PeriodElapsedCallback(TIM_HandleTypeDef *htim)
{
  if (htim->Instance == TIM1) {
    HAL_IncTick();
  }
}

void Error_Handler(void)
{
  __disable_irq();
  while (1)
  {
  }
}
